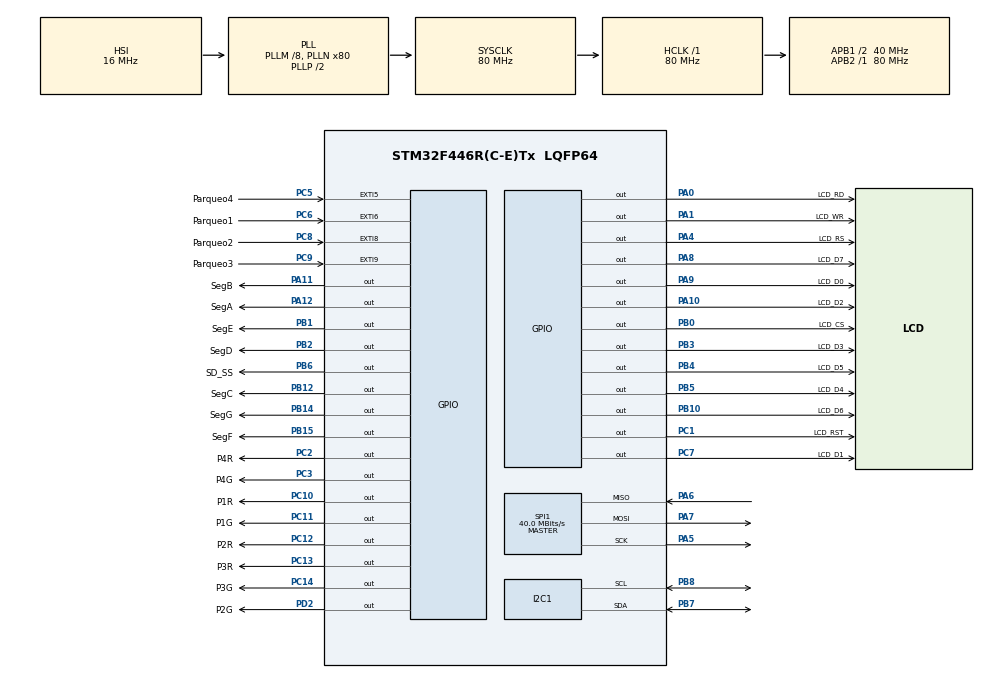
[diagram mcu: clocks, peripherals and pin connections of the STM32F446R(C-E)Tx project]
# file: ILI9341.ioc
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Mcu.Family=STM32F4
Mcu.Name=STM32F446R(C-E)Tx
Mcu.Package=LQFP64
NVIC.EXTI9_5_IRQn=true\:0\:0\:false\:false\:true\:true\:true\:true
NVIC.PriorityGroup=NVIC_PRIORITYGROUP_4
PA0-WKUP.GPIO_Label=LCD_RD
PA0-WKUP.GPIO_Speed=GPIO_SPEED_FREQ_HIGH
PA0-WKUP.Signal=GPIO_Output
PA1.GPIO_Label=LCD_WR
PA1.GPIO_Speed=GPIO_SPEED_FREQ_HIGH
PA1.Signal=GPIO_Output
PA10.GPIO_Label=LCD_D2
PA10.Signal=GPIO_Output
PA11.GPIO_Label=SegB
PA11.Signal=GPIO_Output
PA12.GPIO_Label=SegA
PA12.Signal=GPIO_Output
PA13.Mode=Serial_Wire
PA13.Signal=SYS_JTMS-SWDIO
PA14.Mode=Serial_Wire
PA14.Signal=SYS_JTCK-SWCLK
PA4.GPIO_Label=LCD_RS
PA4.GPIO_Speed=GPIO_SPEED_FREQ_HIGH
PA4.Signal=GPIO_Output
PA5.Mode=Full_Duplex_Master
PA5.Signal=SPI1_SCK
PA6.Mode=Full_Duplex_Master
PA6.Signal=SPI1_MISO
PA7.Mode=Full_Duplex_Master
PA7.Signal=SPI1_MOSI
PA8.GPIO_Label=LCD_D7
PA8.GPIO_Speed=GPIO_SPEED_FREQ_HIGH
PA8.Signal=GPIO_Output
PA9.GPIO_Label=LCD_D0
PA9.GPIO_Speed=GPIO_SPEED_FREQ_HIGH
PA9.Signal=GPIO_Output
PB0.GPIO_Label=LCD_CS
PB0.GPIO_Speed=GPIO_SPEED_FREQ_HIGH
PB0.Signal=GPIO_Output
PB1.GPIO_Label=SegE
PB1.Signal=GPIO_Output
PB10.GPIO_Label=LCD_D6
PB10.GPIO_Speed=GPIO_SPEED_FREQ_HIGH
PB10.Signal=GPIO_Output
PB12.GPIO_Label=SegC
PB12.Signal=GPIO_Output
PB14.GPIO_Label=SegG
PB14.Signal=GPIO_Output
PB15.GPIO_Label=SegF
PB15.Signal=GPIO_Output
PB2.GPIO_Label=SegD
PB2.Signal=GPIO_Output
PB3.GPIO_Label=LCD_D3
PB3.GPIO_Speed=GPIO_SPEED_FREQ_HIGH
PB3.Signal=GPIO_Output
PB4.GPIO_Label=LCD_D5
PB4.GPIO_Speed=GPIO_SPEED_FREQ_HIGH
PB4.Signal=GPIO_Output
PB5.GPIO_Label=LCD_D4
PB5.GPIO_Speed=GPIO_SPEED_FREQ_HIGH
PB5.Signal=GPIO_Output
PB6.GPIO_Label=SD_SS
PB6.GPIO_Speed=GPIO_SPEED_FREQ_HIGH
PB6.Signal=GPIO_Output
PB7.Mode=I2C
PB7.Signal=I2C1_SDA
PB8.Mode=I2C
PB8.Signal=I2C1_SCL
PC1.GPIO_Label=LCD_RST
PC1.GPIO_Speed=GPIO_SPEED_FREQ_HIGH
PC1.Signal=GPIO_Output
PC10.GPIO_Label=P1R
PC10.Signal=GPIO_Output
PC11.GPIO_Label=P1G
PC11.Signal=GPIO_Output
PC12.GPIO_Label=P2R
PC12.Signal=GPIO_Output
PC13.GPIO_Label=P3R
PC13.Signal=GPIO_Output
PC14-OSC32_IN.GPIO_Label=P3G
PC14-OSC32_IN.Signal=GPIO_Output
PC2.GPIO_Label=P4R
PC2.Signal=GPIO_Output
PC3.GPIO_Label=P4G
PC3.Signal=GPIO_Output
PC5.GPIO_Label=Parqueo4
PC5.Signal=GPXTI5
PC6.GPIO_Label=Parqueo1
PC6.GPIO_PuPd=GPIO_PULLUP
PC6.Signal=GPXTI6
PC7.GPIO_Label=LCD_D1
PC7.GPIO_Speed=GPIO_SPEED_FREQ_HIGH
PC7.Signal=GPIO_Output
PC8.GPIO_Label=Parqueo2
PC8.GPIO_PuPd=GPIO_PULLUP
PC8.Signal=GPXTI8
PC9.GPIO_Label=Parqueo3
PC9.GPIO_PuPd=GPIO_PULLUP
PC9.Signal=GPXTI9
PD2.GPIO_Label=P2G
PD2.Signal=GPIO_Output
PH0-OSC_IN.Mode=HSE-External-Oscillator
PH0-OSC_IN.Signal=RCC_OSC_IN
PH1-OSC_OUT.Mode=HSE-External-Oscillator
PH1-OSC_OUT.Signal=RCC_OSC_OUT
ProjectManager.HeapSize=0x200
ProjectManager.StackSize=0x400
ProjectManager.TargetToolchain=STM32CubeIDE
RCC.AHBFreq_Value=80000000
RCC.APB1CLKDivider=RCC_HCLK_DIV2
RCC.APB1Freq_Value=40000000
RCC.APB1TimFreq_Value=80000000
RCC.APB2Freq_Value=80000000
RCC.APB2TimFreq_Value=80000000
RCC.CortexFreq_Value=80000000
RCC.HCLKFreq_Value=80000000
RCC.PLLM=8
RCC.PLLN=80
RCC.SYSCLKFreq_VALUE=80000000
RCC.SYSCLKSource=RCC_SYSCLKSOURCE_PLLCLK
RCC.USBFreq_Value=80000000
RCC.VCOOutputFreq_Value=160000000
SPI1.CalculateBaudRate=40.0 MBits/s
SPI1.Direction=SPI_DIRECTION_2LINES
SPI1.Mode=SPI_MODE_MASTER
SPI1.VirtualType=VM_MASTER
board=custom

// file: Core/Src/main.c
/* USER CODE BEGIN Header */
/**
 ******************************************************************************
 * @file           : main.c
 * @brief          : Main program body
 ******************************************************************************
 * @attention
 *
 * Copyright (c) 2024 STMicroelectronics.
 * All rights reserved.
 *
 * This software is licensed under terms that can be found in the LICENSE file
 * in the root directory of this software component.
 * If no LICENSE file comes with this software, it is provided AS-IS.
 *
 ******************************************************************************
 */
/* USER CODE END Header */
#include "main.h"

/* USER CODE BEGIN Includes */
#include "ili9341.h"
#include <stdbool.h>
#include <string.h>
/* USER CODE END Includes */

/* USER CODE BEGIN PD */
#define ESP32_I2C_ADDRESS 0x08
/* USER CODE END PD */

I2C_HandleTypeDef hi2c1;

SPI_HandleTypeDef hspi1;

/* USER CODE BEGIN PV */
extern uint8_t parqueo[];
extern uint8_t carros[];
extern uint8_t automovil[];

char espacios[8];

char dataparqueos;

uint8_t espacioslibres =4;
uint8_t clicp =0;

bool carro1=false;
bool carro2=false;
bool carro3=false;
bool carro4=false;

/* USER CODE END PV */

void SystemClock_Config(void);
static void MX_GPIO_Init(void);
static void MX_SPI1_Init(void);
static void MX_I2C1_Init(void);
/* USER CODE BEGIN PFP */
void segmentos(uint8_t num);
void mandari2c(void);
//void traduccioncontrol(void);
/* USER CODE END PFP */

int main(void)
{

  /* MCU Configuration--------------------------------------------------------*/

  /* Reset of all peripherals, Initializes the Flash interface and the Systick. */
  HAL_Init();

  /* Configure the system clock */
  SystemClock_Config();

  /* Initialize all configured peripherals */
  MX_GPIO_Init();
  MX_SPI1_Init();
  MX_I2C1_Init();
  /* USER CODE BEGIN 2 */

	LCD_Init();

	LCD_Clear(0x00);
	LCD_Bitmap(0, 0, 320, 240, parqueo);
	itoa(espacioslibres,espacios,8);
	LCD_Print(espacios, 265, 85,2,0xffff, 0x0000);
	//FillRect(0, 0, 319, 239, 0xFF800);
	//FillRect(50, 60, 20, 20, 0xF800);
	//FillRect(70, 60, 20, 20, 0x07E0);
	//FillRect(90, 60, 20, 20, 0x001F);
	//LCD_Bitmap(0, 0, 320, 240, fondo);

	/*LCD_Bitmap(0, 0, 320, 240, inicio);
	LCD_Print("Press X", 120, 140, 1, 0xffff, 0x0000);
	LCD_Print("Press O", 120, 155, 1, 0xffff, 0x0000);*/

	//LCD_Sprite(100, 100, 15, 15, mira, 2, 0, 0, 0);
	//LCD_Sprite(pato1x, pato1y, 35, 37, pato, 2, 0, 0, 0);

	// FillRect(0, 0, 319, 206, 0x1911);
	//HAL_ADC_Start_DMA(&hadc1, (uint16_t*) ADCv, 1);

	//HAL_UART_Receive_DMA(&huart3, rx_buffer, 8);

	/*
	HAL_Delay(1);
	itoa(ADCv, vladc,16);
	LCD_Print(vladc, 30, 230, 1, 0x001F, 0xCAB9);*/

  /* USER CODE END 2 */

  /* Infinite loop */
	while (1) {

    /* USER CODE BEGIN 3 */
		itoa(espacioslibres,espacios,8);
		LCD_Print(espacios, 280,185,2,0xffff, 0x0000);
		segmentos(espacioslibres);

		if (carro1==true) {
			LCD_Bitmap(2, 1, 62, 150, automovil);
			HAL_GPIO_WritePin(P1G_GPIO_Port, P1G_Pin, 1);
			HAL_GPIO_WritePin(P1R_GPIO_Port, P1R_Pin, 0);
		} else {
			FillRect(2, 1, 62, 150, 0x0000);
			HAL_GPIO_WritePin(P1R_GPIO_Port, P1R_Pin, 1);
			HAL_GPIO_WritePin(P1G_GPIO_Port, P1G_Pin, 0);
		}
		if (carro2==true) {
			LCD_Bitmap(82, 1, 62, 150, automovil);
			HAL_GPIO_WritePin(P2G_GPIO_Port, P2G_Pin, 1);
			HAL_GPIO_WritePin(P2R_GPIO_Port, P2R_Pin, 0);
		} else {
			FillRect(82, 1, 62, 150, 0x0000);
			HAL_GPIO_WritePin(P2R_GPIO_Port, P2R_Pin, 1);
			HAL_GPIO_WritePin(P2G_GPIO_Port, P2G_Pin, 0);
		}
		if (carro3==true) {
			LCD_Bitmap(162, 1, 62, 150, automovil);
			HAL_GPIO_WritePin(P3G_GPIO_Port, P3G_Pin, 1);
			HAL_GPIO_WritePin(P3R_GPIO_Port, P3R_Pin, 0);
		} else {
			FillRect(162, 1, 62, 150, 0x0000);
			HAL_GPIO_WritePin(P3R_GPIO_Port, P3R_Pin, 1);
			HAL_GPIO_WritePin(P3G_GPIO_Port, P3G_Pin, 0);
		}
		if (carro4==true) {
			LCD_Bitmap(242, 1, 62, 150, automovil);
			HAL_GPIO_WritePin(P4G_GPIO_Port, P4G_Pin, 1);
			HAL_GPIO_WritePin(P4R_GPIO_Port, P4R_Pin, 0);
		} else {
			FillRect(242, 1, 62, 150, 0x0000);
			HAL_GPIO_WritePin(P4R_GPIO_Port, P4R_Pin, 1);
			HAL_GPIO_WritePin(P4G_GPIO_Port, P4G_Pin, 0);
		}
	}
  /* USER CODE END 3 */
}

void SystemClock_Config(void)
{
  RCC_OscInitTypeDef RCC_OscInitStruct = {0};
  RCC_ClkInitTypeDef RCC_ClkInitStruct = {0};

  /** Configure the main internal regulator output voltage
  */
  __HAL_RCC_PWR_CLK_ENABLE();
  __HAL_PWR_VOLTAGESCALING_CONFIG(PWR_REGULATOR_VOLTAGE_SCALE3);

  /** Initializes the RCC Oscillators according to the specified parameters
  * in the RCC_OscInitTypeDef structure.
  */
  RCC_OscInitStruct.OscillatorType = RCC_OSCILLATORTYPE_HSI;
  RCC_OscInitStruct.HSIState = RCC_HSI_ON;
  RCC_OscInitStruct.HSICalibrationValue = RCC_HSICALIBRATION_DEFAULT;
  RCC_OscInitStruct.PLL.PLLState = RCC_PLL_ON;
  RCC_OscInitStruct.PLL.PLLSource = RCC_PLLSOURCE_HSI;
  RCC_OscInitStruct.PLL.PLLM = 8;
  RCC_OscInitStruct.PLL.PLLN = 80;
  RCC_OscInitStruct.PLL.PLLP = RCC_PLLP_DIV2;
  RCC_OscInitStruct.PLL.PLLQ = 2;
  RCC_OscInitStruct.PLL.PLLR = 2;
  if (HAL_RCC_OscConfig(&RCC_OscInitStruct) != HAL_OK)
  {
    Error_Handler();
  }

  /** Initializes the CPU, AHB and APB buses clocks
  */
  RCC_ClkInitStruct.ClockType = RCC_CLOCKTYPE_HCLK|RCC_CLOCKTYPE_SYSCLK
                              |RCC_CLOCKTYPE_PCLK1|RCC_CLOCKTYPE_PCLK2;
  RCC_ClkInitStruct.SYSCLKSource = RCC_SYSCLKSOURCE_PLLCLK;
  RCC_ClkInitStruct.AHBCLKDivider = RCC_SYSCLK_DIV1;
  RCC_ClkInitStruct.APB1CLKDivider = RCC_HCLK_DIV2;
  RCC_ClkInitStruct.APB2CLKDivider = RCC_HCLK_DIV1;

  if (HAL_RCC_ClockConfig(&RCC_ClkInitStruct, FLASH_LATENCY_2) != HAL_OK)
  {
    Error_Handler();
  }
}

static void MX_I2C1_Init(void)
{

  hi2c1.Instance = I2C1;
  hi2c1.Init.ClockSpeed = 100000;
  hi2c1.Init.DutyCycle = I2C_DUTYCYCLE_2;
  hi2c1.Init.OwnAddress1 = 0;
  hi2c1.Init.AddressingMode = I2C_ADDRESSINGMODE_7BIT;
  hi2c1.Init.DualAddressMode = I2C_DUALADDRESS_DISABLE;
  hi2c1.Init.OwnAddress2 = 0;
  hi2c1.Init.GeneralCallMode = I2C_GENERALCALL_DISABLE;
  hi2c1.Init.NoStretchMode = I2C_NOSTRETCH_DISABLE;
  if (HAL_I2C_Init(&hi2c1) != HAL_OK)
  {
    Error_Handler();
  }

}

static void MX_SPI1_Init(void)
{

  /* SPI1 parameter configuration*/
  hspi1.Instance = SPI1;
  hspi1.Init.Mode = SPI_MODE_MASTER;
  hspi1.Init.Direction = SPI_DIRECTION_2LINES;
  hspi1.Init.DataSize = SPI_DATASIZE_8BIT;
  hspi1.Init.CLKPolarity = SPI_POLARITY_LOW;
  hspi1.Init.CLKPhase = SPI_PHASE_1EDGE;
  hspi1.Init.NSS = SPI_NSS_SOFT;
  hspi1.Init.BaudRatePrescaler = SPI_BAUDRATEPRESCALER_2;
  hspi1.Init.FirstBit = SPI_FIRSTBIT_MSB;
  hspi1.Init.TIMode = SPI_TIMODE_DISABLE;
  hspi1.Init.CRCCalculation = SPI_CRCCALCULATION_DISABLE;
  hspi1.Init.CRCPolynomial = 10;
  if (HAL_SPI_Init(&hspi1) != HAL_OK)
  {
    Error_Handler();
  }

}

static void MX_GPIO_Init(void)
{
  GPIO_InitTypeDef GPIO_InitStruct = {0};

  /* GPIO Ports Clock Enable */
  __HAL_RCC_GPIOC_CLK_ENABLE();
  __HAL_RCC_GPIOH_CLK_ENABLE();
  __HAL_RCC_GPIOA_CLK_ENABLE();
  __HAL_RCC_GPIOB_CLK_ENABLE();
  __HAL_RCC_GPIOD_CLK_ENABLE();

  /*Configure GPIO pin Output Level */
  HAL_GPIO_WritePin(GPIOC, P3R_Pin|P3G_Pin|LCD_RST_Pin|P4R_Pin
                          |P4G_Pin|LCD_D1_Pin|P1R_Pin|P1G_Pin
                          |P2R_Pin, GPIO_PIN_RESET);

  /*Configure GPIO pin Output Level */
  HAL_GPIO_WritePin(GPIOA, LCD_RD_Pin|LCD_WR_Pin|LCD_RS_Pin|LCD_D7_Pin
                          |LCD_D0_Pin|LCD_D2_Pin|SegB_Pin|SegA_Pin, GPIO_PIN_RESET);

  /*Configure GPIO pin Output Level */
  HAL_GPIO_WritePin(GPIOB, LCD_CS_Pin|SegE_Pin|SegD_Pin|LCD_D6_Pin
                          |SegC_Pin|SegG_Pin|SegF_Pin|LCD_D3_Pin
                          |LCD_D5_Pin|LCD_D4_Pin|SD_SS_Pin, GPIO_PIN_RESET);

  /*Configure GPIO pin Output Level */
  HAL_GPIO_WritePin(P2G_GPIO_Port, P2G_Pin, GPIO_PIN_RESET);

  /*Configure GPIO pins : P3R_Pin P3G_Pin P4R_Pin P4G_Pin
                           P1R_Pin P1G_Pin P2R_Pin */
  GPIO_InitStruct.Pin = P3R_Pin|P3G_Pin|P4R_Pin|P4G_Pin
                          |P1R_Pin|P1G_Pin|P2R_Pin;
  GPIO_InitStruct.Mode = GPIO_MODE_OUTPUT_PP;
  GPIO_InitStruct.Pull = GPIO_NOPULL;
  GPIO_InitStruct.Speed = GPIO_SPEED_FREQ_LOW;
  HAL_GPIO_Init(GPIOC, &GPIO_InitStruct);

  /*Configure GPIO pins : LCD_RST_Pin LCD_D1_Pin */
  GPIO_InitStruct.Pin = LCD_RST_Pin|LCD_D1_Pin;
  GPIO_InitStruct.Mode = GPIO_MODE_OUTPUT_PP;
  GPIO_InitStruct.Pull = GPIO_NOPULL;
  GPIO_InitStruct.Speed = GPIO_SPEED_FREQ_HIGH;
  HAL_GPIO_Init(GPIOC, &GPIO_InitStruct);

  /*Configure GPIO pins : LCD_RD_Pin LCD_WR_Pin LCD_RS_Pin LCD_D7_Pin
                           LCD_D0_Pin */
  GPIO_InitStruct.Pin = LCD_RD_Pin|LCD_WR_Pin|LCD_RS_Pin|LCD_D7_Pin
                          |LCD_D0_Pin;
  GPIO_InitStruct.Mode = GPIO_MODE_OUTPUT_PP;
  GPIO_InitStruct.Pull = GPIO_NOPULL;
  GPIO_InitStruct.Speed = GPIO_SPEED_FREQ_HIGH;
  HAL_GPIO_Init(GPIOA, &GPIO_InitStruct);

  /*Configure GPIO pin : Parqueo4_Pin */
  GPIO_InitStruct.Pin = Parqueo4_Pin;
  GPIO_InitStruct.Mode = GPIO_MODE_IT_RISING;
  GPIO_InitStruct.Pull = GPIO_NOPULL;
  HAL_GPIO_Init(Parqueo4_GPIO_Port, &GPIO_InitStruct);

  /*Configure GPIO pins : LCD_CS_Pin LCD_D6_Pin LCD_D3_Pin LCD_D5_Pin
                           LCD_D4_Pin SD_SS_Pin */
  GPIO_InitStruct.Pin = LCD_CS_Pin|LCD_D6_Pin|LCD_D3_Pin|LCD_D5_Pin
                          |LCD_D4_Pin|SD_SS_Pin;
  GPIO_InitStruct.Mode = GPIO_MODE_OUTPUT_PP;
  GPIO_InitStruct.Pull = GPIO_NOPULL;
  GPIO_InitStruct.Speed = GPIO_SPEED_FREQ_HIGH;
  HAL_GPIO_Init(GPIOB, &GPIO_InitStruct);

  /*Configure GPIO pins : SegE_Pin SegD_Pin SegC_Pin SegG_Pin
                           SegF_Pin */
  GPIO_InitStruct.Pin = SegE_Pin|SegD_Pin|SegC_Pin|SegG_Pin
                          |SegF_Pin;
  GPIO_InitStruct.Mode = GPIO_MODE_OUTPUT_PP;
  GPIO_InitStruct.Pull = GPIO_NOPULL;
  GPIO_InitStruct.Speed = GPIO_SPEED_FREQ_LOW;
  HAL_GPIO_Init(GPIOB, &GPIO_InitStruct);

  /*Configure GPIO pins : Parqueo1_Pin Parqueo2_Pin Parqueo3_Pin */
  GPIO_InitStruct.Pin = Parqueo1_Pin|Parqueo2_Pin|Parqueo3_Pin;
  GPIO_InitStruct.Mode = GPIO_MODE_IT_RISING;
  GPIO_InitStruct.Pull = GPIO_PULLUP;
  HAL_GPIO_Init(GPIOC, &GPIO_InitStruct);

  /*Configure GPIO pins : LCD_D2_Pin SegB_Pin SegA_Pin */
  GPIO_InitStruct.Pin = LCD_D2_Pin|SegB_Pin|SegA_Pin;
  GPIO_InitStruct.Mode = GPIO_MODE_OUTPUT_PP;
  GPIO_InitStruct.Pull = GPIO_NOPULL;
  GPIO_InitStruct.Speed = GPIO_SPEED_FREQ_LOW;
  HAL_GPIO_Init(GPIOA, &GPIO_InitStruct);

  /*Configure GPIO pin : P2G_Pin */
  GPIO_InitStruct.Pin = P2G_Pin;
  GPIO_InitStruct.Mode = GPIO_MODE_OUTPUT_PP;
  GPIO_InitStruct.Pull = GPIO_NOPULL;
  GPIO_InitStruct.Speed = GPIO_SPEED_FREQ_LOW;
  HAL_GPIO_Init(P2G_GPIO_Port, &GPIO_InitStruct);

  /* EXTI interrupt init*/
  HAL_NVIC_SetPriority(EXTI9_5_IRQn, 0, 0);
  HAL_NVIC_EnableIRQ(EXTI9_5_IRQn);

}

/* USER CODE BEGIN 4 */
void HAL_GPIO_EXTI_Callback(uint16_t GPIO_Pin){
    bool nuevo_estado;

    if(GPIO_Pin == Parqueo1_Pin){
        nuevo_estado = ((HAL_GPIO_ReadPin(GPIOC, Parqueo1_Pin)) == GPIO_PIN_SET);
        if (carro1 != nuevo_estado) {
            carro1 = nuevo_estado;
            espacioslibres += nuevo_estado ? -1 : 1;
            mandari2c();
        }
    }

    else if(GPIO_Pin == Parqueo2_Pin){
        nuevo_estado = (HAL_GPIO_ReadPin(GPIOC, Parqueo2_Pin) == GPIO_PIN_SET);
        if (carro2 != nuevo_estado) {
            carro2 = nuevo_estado;
            espacioslibres += nuevo_estado ? -1 : 1;
            mandari2c();
        }
    }

    else if(GPIO_Pin == Parqueo3_Pin){
        nuevo_estado = (HAL_GPIO_ReadPin(GPIOC, Parqueo3_Pin) == GPIO_PIN_SET);
        if (carro3 != nuevo_estado) {
            carro3 = nuevo_estado;
            espacioslibres += nuevo_estado ? -1 : 1;
            mandari2c();
        }
    }

    else if(GPIO_Pin == Parqueo4_Pin){
        nuevo_estado = (HAL_GPIO_ReadPin(GPIOC, Parqueo4_Pin) == GPIO_PIN_SET);
        if (carro4 != nuevo_estado) {
            carro4 = nuevo_estado;
            espacioslibres += nuevo_estado ? -1 : 1;
            mandari2c();
        }
    }
}

void segmentos(uint8_t num){
	switch (num) {
		case 0:
			HAL_GPIO_WritePin(SegA_GPIO_Port, SegA_Pin, 1);
			HAL_GPIO_WritePin(SegB_GPIO_Port, SegB_Pin, 1);
			HAL_GPIO_WritePin(SegC_GPIO_Port, SegC_Pin, 1);
			HAL_GPIO_WritePin(SegD_GPIO_Port, SegD_Pin, 1);
			HAL_GPIO_WritePin(SegE_GPIO_Port, SegE_Pin, 1);
			HAL_GPIO_WritePin(SegF_GPIO_Port, SegF_Pin, 1);
			HAL_GPIO_WritePin(SegF_GPIO_Port, SegG_Pin, 0);
			break;
		case 1:
			HAL_GPIO_WritePin(SegA_GPIO_Port, SegA_Pin, 0);
			HAL_GPIO_WritePin(SegB_GPIO_Port, SegB_Pin, 1);
			HAL_GPIO_WritePin(SegC_GPIO_Port, SegC_Pin, 1);
			HAL_GPIO_WritePin(SegD_GPIO_Port, SegD_Pin, 0);
			HAL_GPIO_WritePin(SegE_GPIO_Port, SegE_Pin, 0);
			HAL_GPIO_WritePin(SegF_GPIO_Port, SegF_Pin, 0);
			HAL_GPIO_WritePin(SegF_GPIO_Port, SegG_Pin, 0);
			break;
		case 2:
			HAL_GPIO_WritePin(SegA_GPIO_Port, SegA_Pin, 1);
			HAL_GPIO_WritePin(SegB_GPIO_Port, SegB_Pin, 1);
			HAL_GPIO_WritePin(SegC_GPIO_Port, SegC_Pin, 0);
			HAL_GPIO_WritePin(SegD_GPIO_Port, SegD_Pin, 1);
			HAL_GPIO_WritePin(SegE_GPIO_Port, SegE_Pin, 1);
			HAL_GPIO_WritePin(SegF_GPIO_Port, SegF_Pin, 0);
			HAL_GPIO_WritePin(SegF_GPIO_Port, SegG_Pin, 1);
			break;
		case 3:
			HAL_GPIO_WritePin(SegA_GPIO_Port, SegA_Pin, 1);
			HAL_GPIO_WritePin(SegB_GPIO_Port, SegB_Pin, 1);
			HAL_GPIO_WritePin(SegC_GPIO_Port, SegC_Pin, 1);
			HAL_GPIO_WritePin(SegD_GPIO_Port, SegD_Pin, 1);
			HAL_GPIO_WritePin(SegE_GPIO_Port, SegE_Pin, 0);
			HAL_GPIO_WritePin(SegF_GPIO_Port, SegF_Pin, 0);
			HAL_GPIO_WritePin(SegF_GPIO_Port, SegG_Pin, 1);
			break;
		case 4:
			HAL_GPIO_WritePin(SegA_GPIO_Port, SegA_Pin, 0);
			HAL_GPIO_WritePin(SegB_GPIO_Port, SegB_Pin, 1);
			HAL_GPIO_WritePin(SegC_GPIO_Port, SegC_Pin, 1);
			HAL_GPIO_WritePin(SegD_GPIO_Port, SegD_Pin, 0);
			HAL_GPIO_WritePin(SegE_GPIO_Port, SegE_Pin, 0);
			HAL_GPIO_WritePin(SegF_GPIO_Port, SegF_Pin, 1);
			HAL_GPIO_WritePin(SegF_GPIO_Port, SegG_Pin, 1);
			break;
		default:
			break;
	}
}

void mandari2c(void){
	uint8_t nibble = (carro1 << 3) | (carro2 << 2) | (carro3 << 1) | carro4;
	char ascii_char;
	if (nibble < 10) {
	    ascii_char = '0' + nibble;
	} else {
	    ascii_char = '0' + (nibble);
	}
	HAL_StatusTypeDef result = HAL_I2C_Master_Transmit(&hi2c1, ESP32_I2C_ADDRESS << 1, (uint8_t*)&ascii_char, 1, HAL_MAX_DELAY);
}
/* USER CODE END 4 */

void Error_Handler(void)
{
	__disable_irq();
	while (1) {
	}
}
